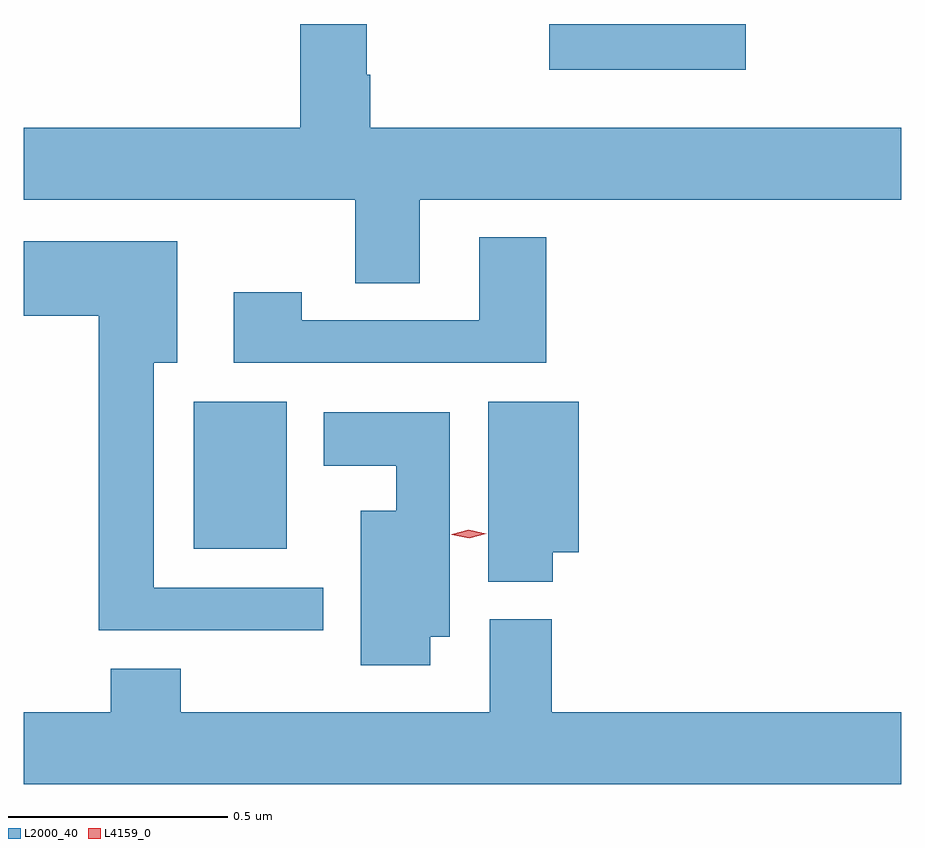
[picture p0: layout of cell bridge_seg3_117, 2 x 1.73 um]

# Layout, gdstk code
import gdstk
lib = gdstk.Library(unit=1e-6, precision=1e-09)
def R(c, l, rs):  # rectangles x0, y0, x1, y1
    for r in rs: c.add(gdstk.rectangle(r[:2], r[2:], *l))
def P(c, l, *ps):  # polygons
    for p in ps: c.add(gdstk.Polygon(p, *l))
L2000_40 = (2000, 40)
L4159_0 = (4159, 0)

bridge_seg3_117 = lib.new_cell('bridge_seg3_117')
R(bridge_seg3_117, L2000_40, [(343.166,746.741,343.378,747.076), (343.977,747.833,344.425,747.937), (343.745,747.936,343.867,747.937)])
P(bridge_seg3_117, L2000_40, [(343.681,747.536),(344.779,747.536),(344.779,747.7),(343.569,747.7),(343.569,747.821),(343.561,747.821),(343.561,747.937),(343.409,747.937),(343.409,747.7),(342.779,747.7),(342.779,747.536),(343.534,747.536),(343.534,747.346),(343.681,747.346)],
  [(343.97,747.451),(343.817,747.451),(343.817,747.261),(343.413,747.261),(343.413,747.325),(343.257,747.325),(343.257,747.165),(343.97,747.165)],
  [(343.462,746.652),(343.075,746.652),(343.075,747.164),(343.129,747.164),(343.129,747.442),(342.779,747.442),(342.779,747.272),(342.95,747.272),(342.95,746.555),(343.462,746.555)],
  [(343.985,746.732),(344.044,746.732),(344.044,747.076),(343.838,747.076),(343.838,746.665),(343.985,746.665)],
  [(343.705,746.54),(343.75,746.54),(343.75,747.052),(343.463,747.052),(343.463,746.93),(343.628,746.93),(343.628,746.827),(343.547,746.827),(343.547,746.475),(343.705,746.475)],
  [(344.779,746.368),(343.982,746.368),(343.982,746.58),(343.841,746.58),(343.841,746.368),(343.137,746.368),(343.137,746.467),(342.977,746.467),(342.977,746.368),(342.779,746.368),(342.779,746.204),(344.779,746.204)])
P(bridge_seg3_117, L4159_0, [(343.794,746.764),(343.754,746.772),(343.754,746.772),(343.754,746.773),(343.793,746.784),(343.833,746.775),(343.833,746.775),(343.833,746.775)])

lib.write_gds('bridge_seg3_117.gds')
